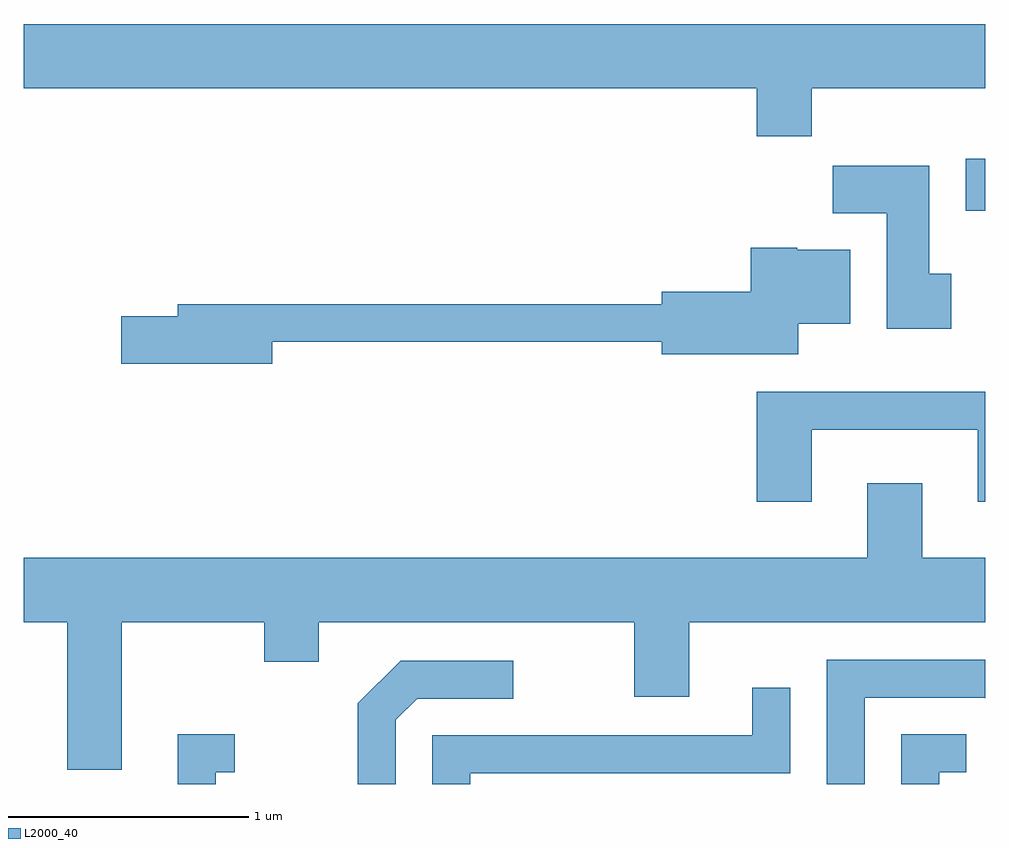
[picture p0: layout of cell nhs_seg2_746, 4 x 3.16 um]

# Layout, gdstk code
import gdstk
lib = gdstk.Library(unit=1e-6, precision=1e-09)
def R(c, l, rs):  # rectangles x0, y0, x1, y1
    for r in rs: c.add(gdstk.rectangle(r[:2], r[2:], *l))
def P(c, l, *ps):  # polygons
    for p in ps: c.add(gdstk.Polygon(p, *l))
L2000_40 = (2000, 40)

nhs_seg2_746 = lib.new_cell('nhs_seg2_746')
R(nhs_seg2_746, L2000_40, [(209.531,1112.186,209.611,1112.404)])
P(nhs_seg2_746, L2000_40, [(208.889,1112.696),(209.611,1112.696),(209.611,1112.964),(205.611,1112.964),(205.611,1112.696),(208.661,1112.696),(208.661,1112.496),(208.889,1112.496)],
  [(209.469,1111.924),(209.379,1111.924),(209.379,1112.374),(208.976,1112.374),(208.976,1112.176),(209.201,1112.176),(209.201,1111.696),(209.469,1111.696)],
  [(206.644,1111.641),(208.266,1111.641),(208.266,1111.591),(208.834,1111.591),(208.834,1111.716),(209.049,1111.716),(209.049,1112.024),(208.83,1112.024),(208.83,1112.034),(208.636,1112.034),(208.636,1111.849),(208.266,1111.849),(208.266,1111.799),(206.251,1111.799),(206.251,1111.749),(206.016,1111.749),(206.016,1111.551),(206.644,1111.551)],
  [(208.889,1111.276),(209.581,1111.276),(209.581,1110.976),(209.611,1110.976),(209.611,1111.434),(208.661,1111.434),(208.661,1110.976),(208.889,1110.976)],
  [(206.019,1110.476),(206.611,1110.476),(206.611,1110.311),(206.839,1110.311),(206.839,1110.476),(208.151,1110.476),(208.151,1110.166),(208.379,1110.166),(208.379,1110.476),(209.611,1110.476),(209.611,1110.744),(209.349,1110.744),(209.349,1111.054),(209.121,1111.054),(209.121,1110.744),(205.611,1110.744),(205.611,1110.476),(205.791,1110.476),(205.791,1109.861),(206.019,1109.861)],
  [(209.109,1110.161),(209.609,1110.161),(209.611,1110.159),(209.611,1110.319),(208.951,1110.319),(208.951,1109.802),(209.109,1109.802)],
  [(207.159,1110.069),(207.247,1110.156),(207.648,1110.156),(207.648,1110.314),(207.179,1110.314),(207.001,1110.137),(207.001,1109.802),(207.159,1109.802)],
  [(207.469,1109.846),(208.799,1109.846),(208.799,1110.203),(208.641,1110.203),(208.641,1110.004),(207.311,1110.004),(207.311,1109.802),(207.469,1109.802)],
  [(209.419,1109.851),(209.533,1109.851),(209.533,1110.009),(209.261,1110.009),(209.261,1109.802),(209.419,1109.802)],
  [(206.409,1109.851),(206.488,1109.851),(206.488,1110.009),(206.251,1110.009),(206.251,1109.802),(206.409,1109.802)])

lib.write_gds('nhs_seg2_746.gds')
